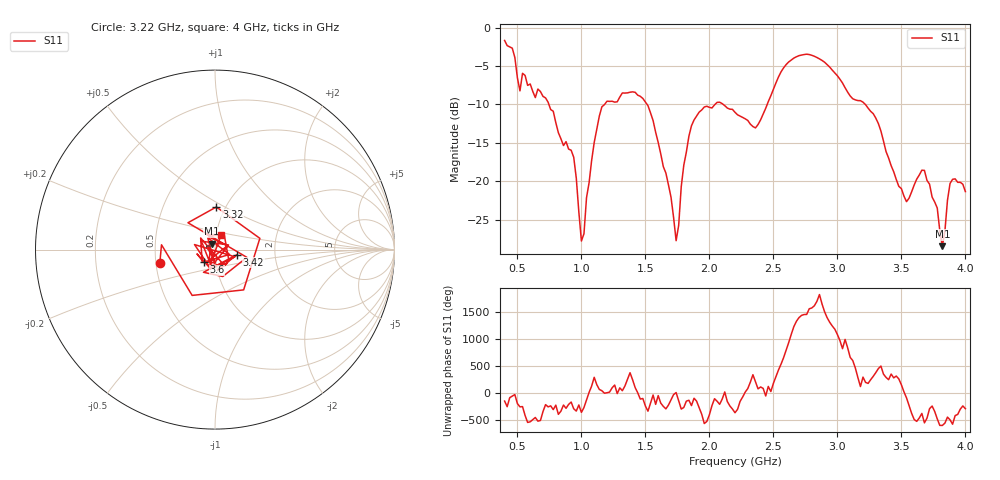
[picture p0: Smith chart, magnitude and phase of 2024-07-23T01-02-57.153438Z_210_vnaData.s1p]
!Created with skrf (http://scikit-rf.org).
# Hz S RI R 50.0
!freq ReS11 ImS11
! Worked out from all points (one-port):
!   181 points, 400 MHz to 4 GHz, reference 50 ohm
!   lowest |S11| = -28.5 dB at 3.82 GHz (marker M1), VSWR 1.08, Z = 48.2 + j3.21 ohm
!   |S11| at or under -10 dB: 746.1 MHz to 1.181 GHz (434.8 MHz wide, 45.1 % of centre); 1.513 GHz to 2.043 GHz (529.8 MHz wide, 29.8 % of centre); 3.219 GHz to end of sweep (the widest 3 of 4)
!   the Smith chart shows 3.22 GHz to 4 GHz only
!   S11 on the Smith chart (normalised r, x): 3.22 GHz: 0.53, -0.08; 3.32 GHz: 0.91, +0.46; 3.42 GHz: 1.28, -0.07; 3.6 GHz: 0.87, -0.12; 4 GHz: 1.05, +0.17
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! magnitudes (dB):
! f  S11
! 400 MHz  -1.7
! 520 MHz  -8.2
! 540 MHz  -5.9
! 720 MHz  -9.1
! 860 MHz  -15.3
! 940 MHz  -16.9
! 1 GHz  -27.8
! 1.14 GHz  -11.5
! 1.3 GHz  -9.0
! 1.52 GHz  -10.1
! 1.68 GHz  -20.5
! 1.74 GHz  -27.8
! 1.76 GHz  -25.8
! 1.8 GHz  -17.9
! 1.88 GHz  -12.0
! 2.2 GHz  -11.0
! 2.36 GHz  -13.1
! 2.66 GHz  -3.9
! 3.1 GHz  -8.9
! 3.22 GHz  -10.0
! 3.32 GHz  -12.5
! 3.42 GHz  -18.0
! 3.56 GHz  -22.2
! 3.6 GHz  -20.5
! 3.68 GHz  -18.6
! 3.82 GHz  -28.5
! 3.88 GHz  -20.3
! 4 GHz  -21.4
